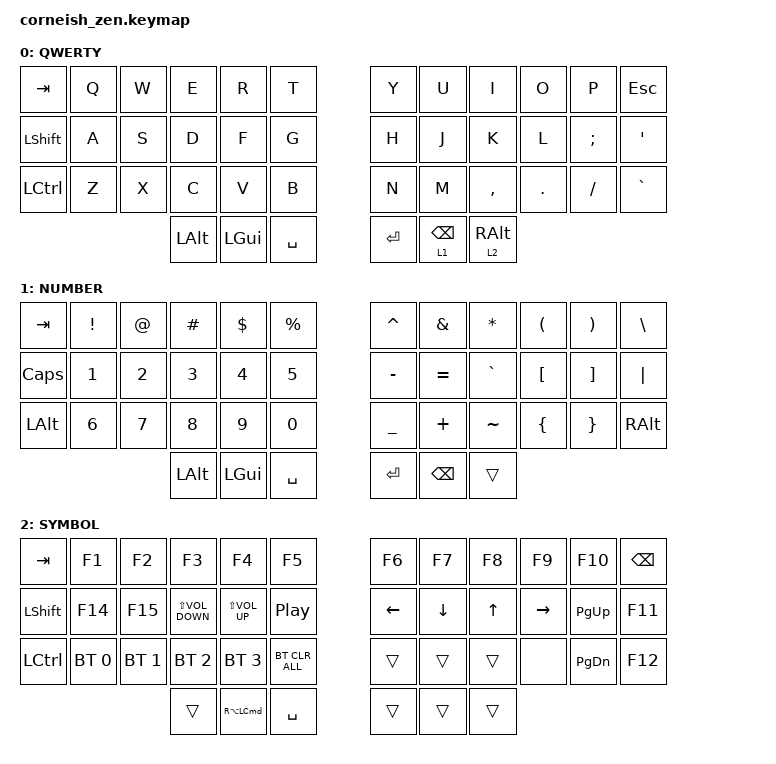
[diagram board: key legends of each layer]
/*
*
* Copyright (c) 2021 Darryl deHaan
* SPDX-License-Identifier: MIT
*
*/

#include <behaviors.dtsi>
#include <dt-bindings/zmk/bt.h>
#include <dt-bindings/zmk/keys.h>

/ {
    chosen {
        zmk,matrix_transform = &default_transform;

        // zmk,matrix_transform = &five_column_transform;
    };
};

/ {
    keymap {
        compatible = "zmk,keymap";

        default_layer {
            display-name = "QWERTY";
            bindings = <
&kp TAB     &kp Q  &kp W  &kp E         &kp R         &kp T        &kp Y      &kp U            &kp I            &kp O    &kp P     &kp ESCAPE
&kp LSHIFT  &kp A  &kp S  &kp D         &kp F         &kp G        &kp H      &kp J            &kp K            &kp L    &kp SEMI  &kp SQT
&kp LCTRL   &kp Z  &kp X  &kp C         &kp V         &kp B        &kp N      &kp M            &kp COMMA        &kp DOT  &kp FSLH  &kp GRAVE
                          &kp LEFT_ALT  &kp LEFT_GUI  &kp SPACE    &kp ENTER  &lt 1 BACKSPACE  &lt 2 RIGHT_ALT
            >;
        };

        lower_layer {
            display-name = "NUMBER";
            bindings = <
&kp TAB       &kp EXCLAMATION  &kp AT_SIGN   &kp HASH      &kp DOLLAR    &kp PERCENT     &kp CARET       &kp AMPERSAND  &kp ASTERISK  &kp LEFT_PARENTHESIS  &kp RIGHT_PARENTHESIS  &kp BACKSLASH
&kp CAPSLOCK  &kp NUMBER_1     &kp NUMBER_2  &kp NUMBER_3  &kp NUMBER_4  &kp N5          &kp MINUS       &kp EQUAL      &kp GRAVE     &kp LEFT_BRACKET      &kp RIGHT_BRACKET      &kp PIPE
&kp LEFT_ALT  &kp NUMBER_6     &kp N7        &kp N8        &kp N9        &kp NUMBER_0    &kp UNDERSCORE  &kp PLUS       &kp TILDE     &kp LEFT_BRACE        &kp RIGHT_BRACE        &kp RIGHT_ALT
                                             &kp LEFT_ALT  &kp LEFT_GUI  &kp SPACE       &kp ENTER       &kp BACKSPACE  &trans
            >;
        };

        raise_layer {
            display-name = "SYMBOL";
            bindings = <
&kp TAB         &kp F1        &kp F2        &kp F3                 &kp F4                &kp F5              &kp F6          &kp F7          &kp F8        &kp F9     &kp F10        &kp BACKSPACE
&kp LEFT_SHIFT  &kp F14       &kp F15       &kp LS(C_VOLUME_DOWN)  &kp LS(C_VOLUME_UP)   &kp C_PLAY_PAUSE    &kp LEFT_ARROW  &kp DOWN_ARROW  &kp UP_ARROW  &kp RIGHT  &kp PAGE_UP    &kp F11
&kp LCTRL       &bt BT_SEL 0  &bt BT_SEL 1  &bt BT_SEL 2           &bt BT_SEL 3          &bt BT_CLR_ALL      &trans          &trans          &trans        &none      &kp PAGE_DOWN  &kp F12
                                            &trans                 &kp RA(LEFT_COMMAND)  &kp SPACE           &trans          &trans          &trans
            >;
        };
    };
};
